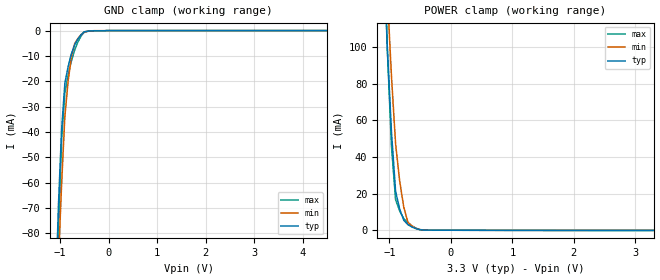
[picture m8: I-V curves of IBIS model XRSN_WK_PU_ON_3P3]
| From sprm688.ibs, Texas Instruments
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|XRSN_OPEN_DRAIN
|   Model Cell XRSN_WK_PU_ON_3P3
|XRSN_WK_PU_ON_3P3
[Model]   XRSN_WK_PU_ON_3P3
Model_type   Input
Polarity   Non-Inverting
Vinl =  0.8
Vinh =  2
C_comp   4.25494p   0.807076p   4.29559p
[Model Spec]
Vinl   0.8   0.8   0.8
Vinh   2   2   2
[Temperature Range]   25   155   -40
[Voltage Range]   3.3   2.97   3.63
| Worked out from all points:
|   GND clamp passes 1 mA (typ) near -0.53 V on its own axis
|   POWER clamp passes 1 mA (typ) near -0.58 V on its own axis
| Nom Voltages:
|   BIASFET=3.3, VDD=1.2, VDDS=3.3, VSS=0
| Min Voltages:
|   BIASFET=2.97, VDD=1.08, VDDS=2.97, VSS=0
| Max Voltages:
|   BIASFET=3.63, VDD=1.32, VDDS=3.63, VSS=0
[POWER_clamp]
|   voltage   I(typ)   I(min)   I(max)
-3.3V     2.375A     2.63A      3.153A
-1.1V     156mA      180.1mA    173.4mA
-1.033V   98.45mA    128.2mA    97.99mA
-966.7mV  53.5mA     83.9mA     45.75mA
-900mV    21.19mA    47.15mA    16.7mA
-833.3mV  11.49mA    26.82mA    10.5mA
-766.7mV  5.441mA    12.57mA    6.285mA
-700mV    3.052mA    4.404mA    4.065mA
-633.3mV  1.772mA    2.315mA    2.348mA
-500mV    224.9uA    330.4uA    256.9uA
-366.7mV  35.75uA    46.03uA    45.22uA
3.3V      -86.03uA   -56.08uA   -137.9uA
[GND_clamp]
|   voltage   I(typ)   I(min)   I(max)
-3.3V     -1.947A    -1.623A    -3.254A
-1.1V     -112mA     -127.1mA   -135.8mA
-1.033V   -69.63mA   -91.64mA   -80.2mA
-966.7mV  -39.25mA   -60.63mA   -43.14mA
-900mV    -20.89mA   -34.03mA   -24.56mA
-833.3mV  -14.31mA   -20.13mA   -17.7mA
-766.7mV  -9.259mA   -10.54mA   -12.12mA
-700mV    -5.75mA    -5.235mA   -7.84mA
-566.7mV  -1.652mA   -1.611mA   -2.192mA
-500mV    -488.4uA   -625.8uA   -598.3uA
-33.33mV  0A         0A         0A
6.6V      0A         0A         0A
